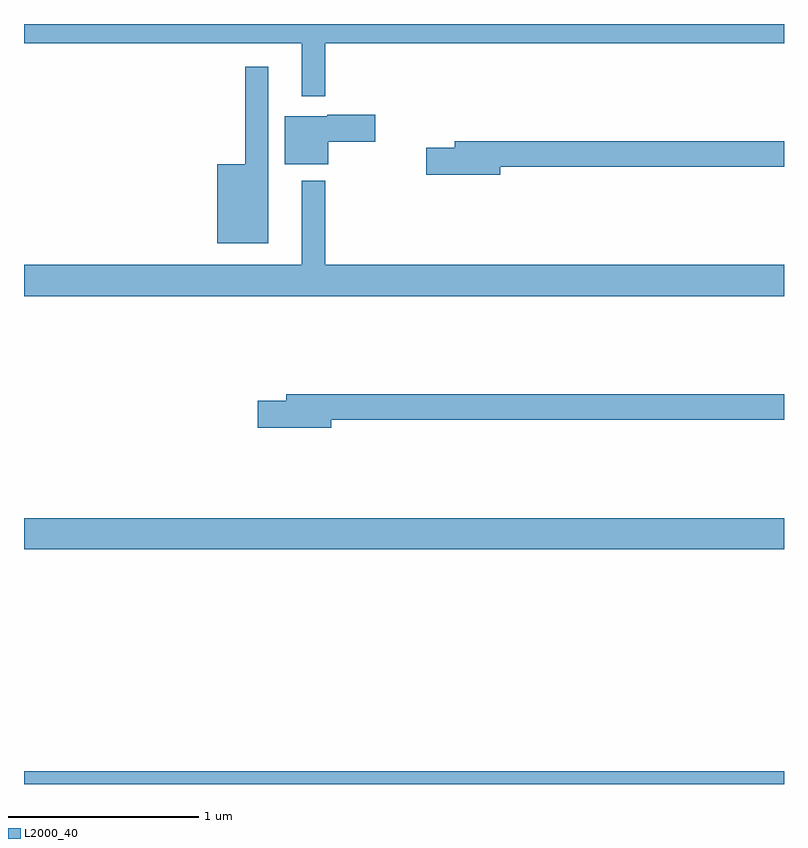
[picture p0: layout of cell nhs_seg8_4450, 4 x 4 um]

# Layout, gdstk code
import gdstk
lib = gdstk.Library(unit=1e-6, precision=1e-09)
def R(c, l, rs):  # rectangles x0, y0, x1, y1
    for r in rs: c.add(gdstk.rectangle(r[:2], r[2:], *l))
def P(c, l, *ps):  # polygons
    for p in ps: c.add(gdstk.Polygon(p, *l))
L2000_40 = (2000, 40)

nhs_seg8_4450 = lib.new_cell('nhs_seg8_4450')
R(nhs_seg8_4450, L2000_40, [(381,1145.9,385,1145.968), (381,1147.136,385,1147.3)])
P(nhs_seg8_4450, L2000_40, [(382.585,1149.8),(385,1149.8),(385,1149.9),(381,1149.9),(381,1149.8),(382.463,1149.8),(382.463,1149.519),(382.585,1149.519)],
  [(382.285,1149.676),(382.164,1149.676),(382.164,1149.163),(382.016,1149.163),(382.016,1148.747),(382.285,1148.747)],
  [(382.6,1149.281),(382.849,1149.281),(382.849,1149.423),(382.596,1149.423),(382.596,1149.415),(382.373,1149.415),(382.373,1149.161),(382.6,1149.161)],
  [(383.506,1149.148),(385,1149.148),(385,1149.284),(383.267,1149.284),(383.267,1149.248),(383.118,1149.248),(383.118,1149.106),(383.506,1149.106)],
  [(385,1148.632),(382.585,1148.632),(382.585,1149.076),(382.463,1149.076),(382.463,1148.632),(381,1148.632),(381,1148.468),(385,1148.468)],
  [(382.618,1147.816),(385,1147.816),(385,1147.952),(382.379,1147.952),(382.379,1147.916),(382.23,1147.916),(382.23,1147.774),(382.618,1147.774)])

lib.write_gds('nhs_seg8_4450.gds')
